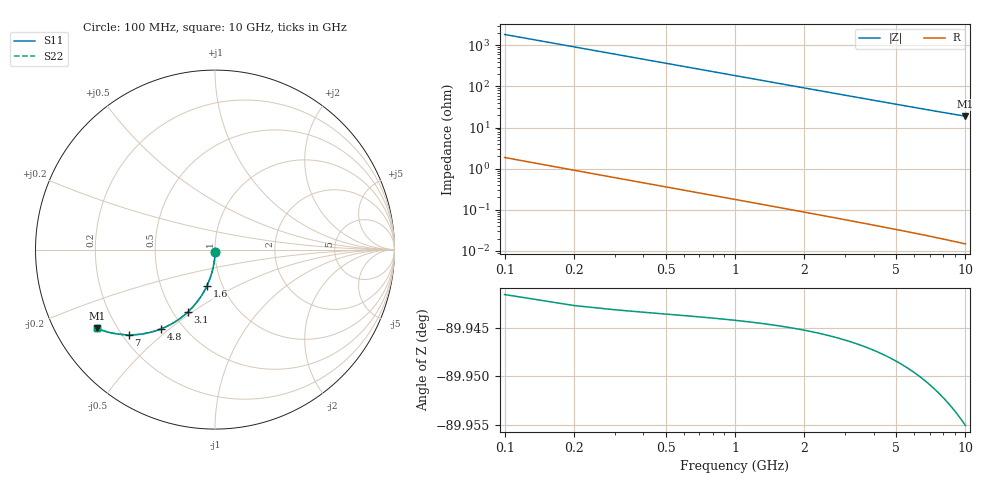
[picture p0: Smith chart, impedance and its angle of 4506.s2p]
# Hz S RI R 50.00
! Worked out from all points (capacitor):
!   100 points, 100 MHz to 10 GHz, reference 50 ohm
!   read as one part in shunt: C = 869 fF near 100 MHz
!   lowest |Z| = 18.8 ohm at 10 GHz (marker M1)
!   S11 on the Smith chart (normalised r, x): 100 MHz: 1.00, -0.03; 1.6 GHz: 0.84, -0.36; 3.1 GHz: 0.59, -0.48; 4.8 GHz: 0.38, -0.47; 7 GHz: 0.22, -0.39; 10 GHz: 0.13, -0.30
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1e8  -4.52e-05 -0.0133  0.9996 -0.014  0.9996 -0.014  -4.52e-05 -0.0133
2e8  -0.000616 -0.0266  0.9991 -0.028  0.9991 -0.028  -0.000616 -0.0266
3e8  -0.00156 -0.0399  0.9981 -0.0419  0.9981 -0.0419  -0.00156 -0.0399
4e8  -0.00287 -0.0531  0.9968 -0.0558  0.9968 -0.0558  -0.00287 -0.0531
5e8  -0.00454 -0.0662  0.9951 -0.0696  0.9951 -0.0696  -0.00454 -0.0662
6e8  -0.00658 -0.0793  0.9931 -0.0834  0.9931 -0.0834  -0.00658 -0.0793
7e8  -0.00898 -0.0923  0.9907 -0.0971  0.9907 -0.0971  -0.00898 -0.0923
9e8  -0.0148 -0.1179  0.9848 -0.1241  0.9848 -0.1241  -0.0148 -0.1179
1.2e9  -0.0261 -0.1554  0.9735 -0.1636  0.9735 -0.1636  -0.0261 -0.1554
1.6e9  -0.0456 -0.203  0.954 -0.2139  0.954 -0.2139  -0.0456 -0.203
1.8e9  -0.057 -0.2256  0.9426 -0.2379  0.9426 -0.2379  -0.057 -0.2256
2.4e9  -0.0972 -0.2878  0.9024 -0.3042  0.9024 -0.3042  -0.0972 -0.2878
3.1e9  -0.1524 -0.3486  0.847 -0.3698  0.847 -0.3698  -0.1524 -0.3486
3.4e9  -0.1779 -0.3706  0.8215 -0.3938  0.8215 -0.3938  -0.1779 -0.3706
4.1e9  -0.2397 -0.4126  0.7596 -0.4407  0.7596 -0.4407  -0.2397 -0.4126
4.8e9  -0.3022 -0.4424  0.6969 -0.4754  0.6969 -0.4754  -0.3022 -0.4424
5.1e9  -0.3285 -0.4518  0.6705 -0.4869  0.6705 -0.4869  -0.3285 -0.4518
5.9e9  -0.3964 -0.4684  0.6024 -0.5091  0.6024 -0.5091  -0.3964 -0.4684
6.7e9  -0.4593 -0.4747  0.5392 -0.521  0.5392 -0.521  -0.4593 -0.4747
7e9  -0.4815 -0.475  0.517 -0.5234  0.517 -0.5234  -0.4815 -0.475
8.4e9  -0.5737 -0.4646  0.4242 -0.5231  0.4242 -0.5231  -0.5737 -0.4646
1e10  -0.6579 -0.4384  0.3393 -0.5084  0.3393 -0.5084  -0.6579 -0.4384
